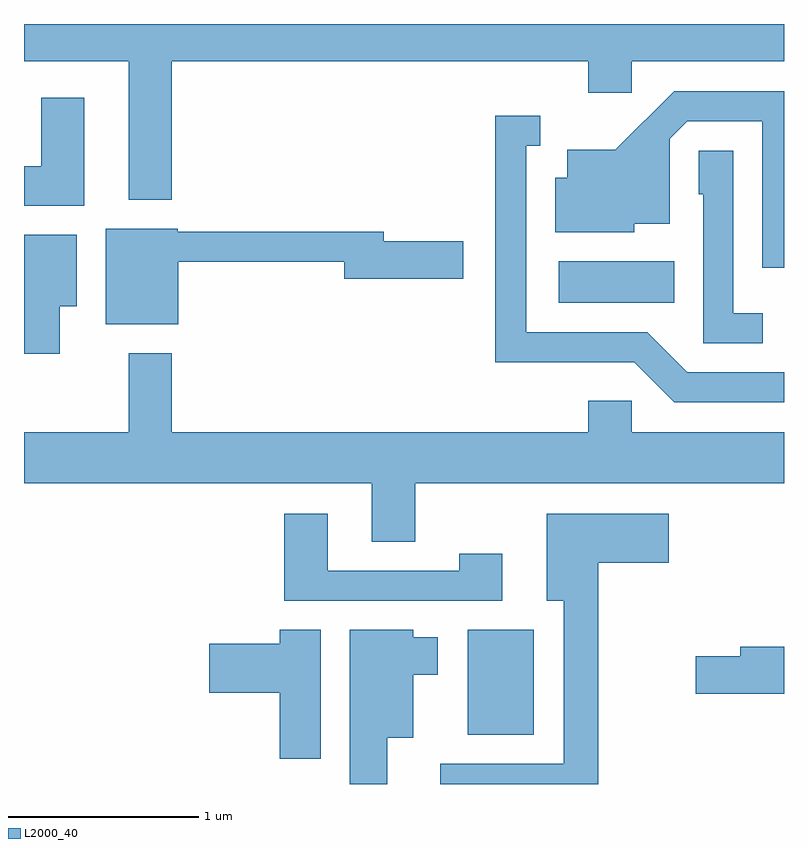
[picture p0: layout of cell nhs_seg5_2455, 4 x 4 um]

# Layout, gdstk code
import gdstk
lib = gdstk.Library(unit=1e-6, precision=1e-09)
def R(c, l, rs):  # rectangles x0, y0, x1, y1
    for r in rs: c.add(gdstk.rectangle(r[:2], r[2:], *l))
def P(c, l, *ps):  # polygons
    for p in ps: c.add(gdstk.Polygon(p, *l))
L2000_40 = (2000, 40)

nhs_seg5_2455 = lib.new_cell('nhs_seg5_2455')
R(nhs_seg5_2455, L2000_40, [(259.946,1484.331,260.294,1484.884), (260.426,1486.606,261.034,1486.824)])
P(nhs_seg5_2455, L2000_40, [(258.389,1487.876),(260.581,1487.876),(260.581,1487.711),(260.809,1487.711),(260.809,1487.876),(261.611,1487.876),(261.611,1488.072),(257.611,1488.072),(257.611,1487.876),(258.161,1487.876),(258.161,1487.146),(258.389,1487.146)],
  [(261.611,1487.719),(261.034,1487.719),(260.724,1487.409),(260.471,1487.409),(260.471,1487.264),(260.406,1487.264),(260.406,1486.976),(260.824,1486.976),(260.824,1487.021),(261.009,1487.021),(261.009,1487.469),(261.102,1487.561),(261.496,1487.561),(261.496,1486.788),(261.611,1486.788)],
  [(257.929,1487.684),(257.701,1487.684),(257.701,1487.324),(257.611,1487.324),(257.611,1487.116),(257.929,1487.116)],
  [(261.611,1486.239),(261.102,1486.239),(260.892,1486.449),(260.254,1486.449),(260.254,1487.431),(260.328,1487.431),(260.328,1487.589),(260.091,1487.589),(260.091,1486.291),(260.824,1486.291),(261.034,1486.081),(261.611,1486.081)],
  [(261.498,1486.549),(261.344,1486.549),(261.344,1487.404),(261.161,1487.404),(261.161,1487.176),(261.186,1487.176),(261.186,1486.391),(261.498,1486.391)],
  [(258.424,1486.821),(259.296,1486.821),(259.296,1486.731),(259.924,1486.731),(259.924,1486.929),(259.504,1486.929),(259.504,1486.979),(258.42,1486.979),(258.42,1486.994),(258.041,1486.994),(258.041,1486.491),(258.424,1486.491)],
  [(257.799,1486.586),(257.889,1486.586),(257.889,1486.964),(257.611,1486.964),(257.611,1486.336),(257.799,1486.336)],
  [(259.669,1485.656),(261.611,1485.656),(261.611,1485.924),(260.809,1485.924),(260.809,1486.089),(260.581,1486.089),(260.581,1485.924),(258.389,1485.924),(258.389,1486.339),(258.161,1486.339),(258.161,1485.924),(257.611,1485.924),(257.611,1485.656),(259.441,1485.656),(259.441,1485.346),(259.669,1485.346)],
  [(260.129,1485.284),(259.901,1485.284),(259.901,1485.194),(259.209,1485.194),(259.209,1485.494),(258.981,1485.494),(258.981,1485.036),(260.129,1485.036)],
  [(260.634,1485.236),(261.004,1485.236),(261.004,1485.494),(260.361,1485.494),(260.361,1485.036),(260.451,1485.036),(260.451,1484.179),(259.803,1484.179),(259.803,1484.072),(260.634,1484.072)],
  [(259.524,1484.316),(259.659,1484.316),(259.659,1484.646),(259.789,1484.646),(259.789,1484.844),(259.659,1484.844),(259.659,1484.884),(259.326,1484.884),(259.326,1484.072),(259.524,1484.072)],
  [(259.174,1484.884),(258.956,1484.884),(258.956,1484.809),(258.586,1484.809),(258.586,1484.551),(258.956,1484.551),(258.956,1484.206),(259.174,1484.206)],
  [(261.611,1484.794),(261.381,1484.794),(261.381,1484.744),(261.146,1484.744),(261.146,1484.546),(261.611,1484.546)])

lib.write_gds('nhs_seg5_2455.gds')
